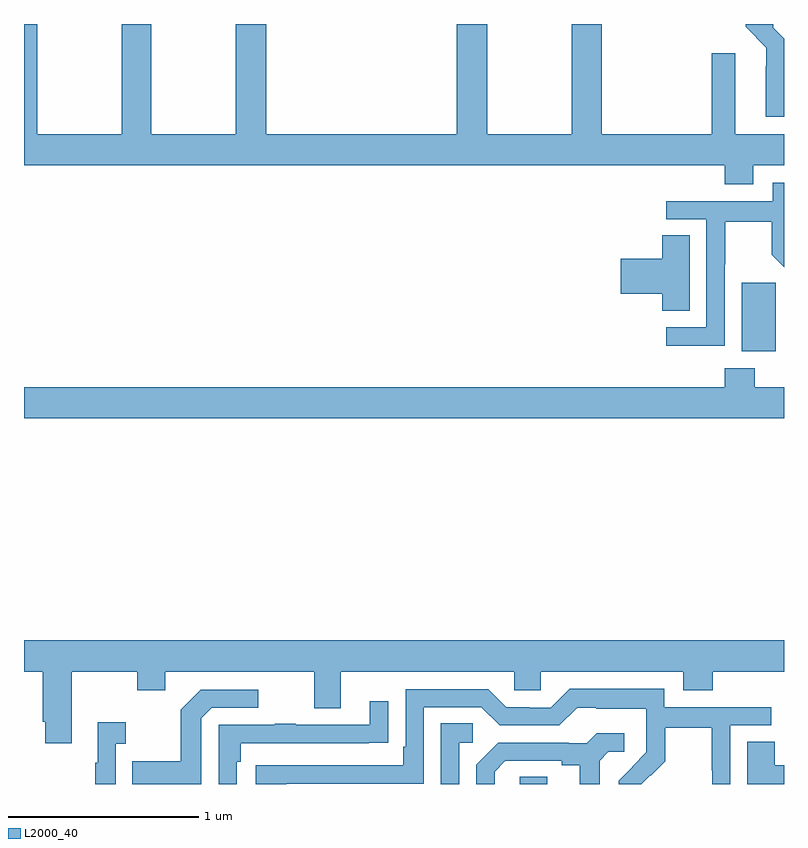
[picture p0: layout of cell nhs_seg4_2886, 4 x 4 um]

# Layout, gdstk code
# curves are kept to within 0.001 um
import gdstk
lib = gdstk.Library(unit=1e-6, precision=1e-09)
def R(c, l, rs):  # rectangles x0, y0, x1, y1
    for r in rs: c.add(gdstk.rectangle(r[:2], r[2:], *l))
def P(c, l, *ps):  # polygons
    for p in ps: c.add(gdstk.Polygon(p, *l))
L2000_40 = (2000, 40)

nhs_seg4_2886 = lib.new_cell('nhs_seg4_2886')
R(nhs_seg4_2886, L2000_40, [(265.608,790.9,265.753,790.937), (266.777,793.178,266.956,793.539)])
P(nhs_seg4_2886, L2000_40, [(267,794.823),(266.943,794.88),(266.943,794.9),(266.798,794.9),(266.798,794.885),(266.907,794.776),(266.907,794.678),(266.903,794.678),(266.903,794.411),(267,794.411)],
  [(266.839,794.156),(267,794.156),(267,794.32),(266.743,794.32),(266.743,794.746),(266.621,794.746),(266.621,794.32),(266.042,794.32),(266.042,794.9),(265.882,794.9),(265.882,794.32),(265.437,794.32),(265.437,794.9),(265.277,794.9),(265.277,794.32),(264.275,794.32),(264.275,794.9),(264.115,794.9),(264.115,794.32),(263.67,794.32),(263.67,794.9),(263.515,794.9),(263.515,794.32),(263.07,794.32),(263.07,794.9),(263,794.9),(263,794.156),(266.687,794.156),(266.687,794.057),(266.839,794.057)],
  [(266.688,793.636),(266.691,793.636),(266.691,793.86),(266.935,793.86),(266.935,793.685),(267,793.62),(267,794.065),(266.94,794.065),(266.94,793.968),(266.379,793.968),(266.379,793.872),(266.592,793.872),(266.592,793.305),(266.379,793.305),(266.379,793.207),(266.688,793.207)],
  [(266.503,793.787),(266.36,793.787),(266.36,793.664),(266.142,793.664),(266.142,793.481),(266.36,793.481),(266.36,793.39),(266.503,793.39)],
  [(267,792.988),(266.847,792.988),(266.847,793.087),(266.687,793.087),(266.687,792.988),(263,792.988),(263,792.824),(267,792.824)],
  [(263.251,791.492),(263.596,791.492),(263.596,791.393),(263.743,791.393),(263.743,791.492),(264.527,791.492),(264.527,791.298),(264.667,791.298),(264.667,791.492),(265.581,791.492),(265.581,791.394),(265.719,791.394),(265.719,791.492),(266.471,791.492),(266.471,791.393),(266.624,791.393),(266.624,791.492),(267,791.492),(267,791.656),(263,791.656),(263,791.492),(263.099,791.492),(263.099,791.227),(263.111,791.227),(263.111,791.115),(263.251,791.115)],
  [(264.38,790.902),(265.104,790.902),(265.104,791.304),(265.407,791.304),(265.503,791.208),(265.818,791.208),(265.911,791.301),(266.011,791.301),(266.011,791.297),(266.274,791.297),(266.274,791.163),(266.276,791.163),(266.276,791.066),(266.13,790.918),(266.13,790.9),(266.248,790.9),(266.295,790.947),(266.298,790.944),(266.375,791.021),(266.375,791.196),(266.62,791.196),(266.62,790.972),(266.622,790.972),(266.622,790.9),(266.718,790.9),(266.718,791.208),(266.932,791.208),(266.932,791.304),(266.37,791.304),(266.37,791.401),(265.873,791.401),(265.773,791.301),(265.658,791.301),(265.658,791.304),(265.539,791.304),(265.443,791.4),(265.008,791.4),(265.008,791.095),(264.995,791.095),(264.995,790.998),(264.219,790.998),(264.219,790.9),(264.38,790.9)],
  [(263.934,791.247),(263.988,791.301),(264.232,791.301),(264.232,791.397),(263.931,791.397),(263.826,791.291),(263.826,791.019),(263.569,791.019),(263.569,790.9),(263.934,790.9)],
  [(264.12,791.018),(264.14,791.018),(264.14,791.115),(264.815,791.115),(264.815,791.116),(264.917,791.116),(264.917,791.335),(264.821,791.335),(264.821,791.211),(264.431,791.211),(264.431,791.216),(264.319,791.216),(264.319,791.211),(264.024,791.211),(264.024,790.9),(264.12,790.9)],
  [(263.484,791.111),(263.536,791.111),(263.536,791.224),(263.387,791.224),(263.387,791.011),(263.376,791.011),(263.376,790.9),(263.484,790.9)],
  [(265.29,791.118),(265.363,791.118),(265.363,791.219),(265.194,791.219),(265.194,790.9),(265.29,790.9)],
  [(265.477,790.965),(265.534,791.022),(265.829,791.022),(265.829,791),(265.925,791),(265.925,790.9),(266.029,790.9),(266.029,791.023),(266.076,791.07),(266.158,791.07),(266.158,791.167),(266.014,791.167),(265.962,791.115),(265.868,791.115),(265.868,791.118),(265.496,791.118),(265.38,791.002),(265.38,790.9),(265.477,790.9)],
  [(267,791),(266.951,791),(266.951,791.123),(266.807,791.123),(266.807,790.9),(267,790.9)])

lib.write_gds('nhs_seg4_2886.gds')
